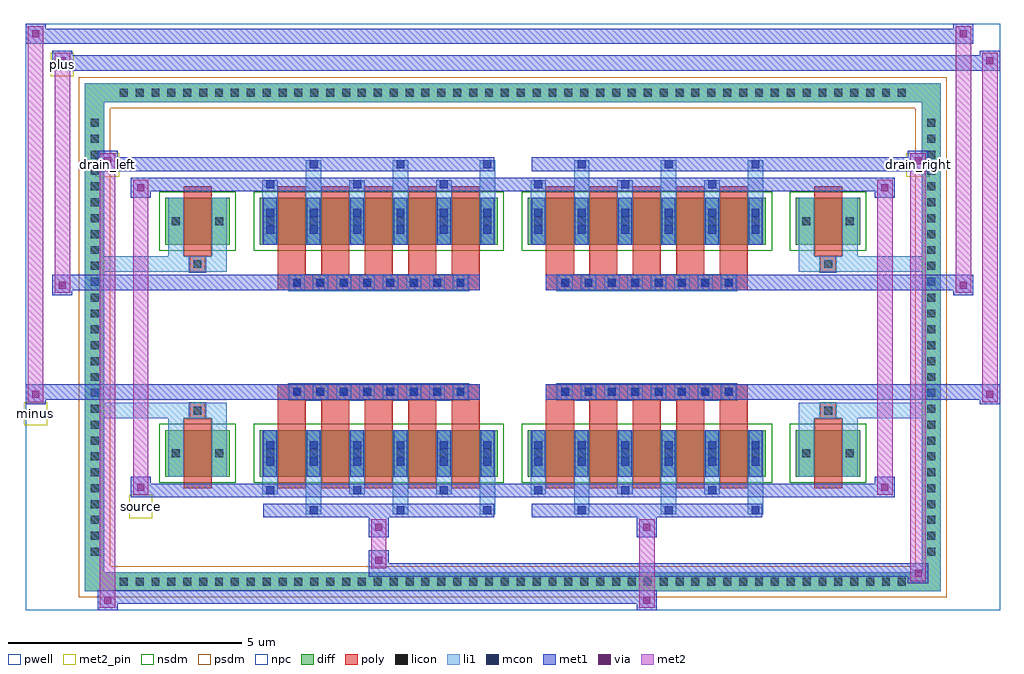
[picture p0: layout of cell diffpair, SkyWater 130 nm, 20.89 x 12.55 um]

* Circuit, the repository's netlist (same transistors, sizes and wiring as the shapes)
* NGSPICE file created from diffpair.ext - technology: sky130A

.subckt diffpair minus drain_right drain_left source plus
X0 a_n1832_n1088# a_n1832_n1088# a_n1832_n1088# a_n1832_n1088# sky130_fd_pr__nfet_01v8 ad=0.39 pd=2.78 as=3.12 ps=22.24 w=1 l=0.6
X1 source plus drain_left a_n1832_n1088# sky130_fd_pr__nfet_01v8 ad=0.165 pd=1.33 as=0.165 ps=1.33 w=1 l=0.6
X2 drain_right minus source a_n1832_n1088# sky130_fd_pr__nfet_01v8 ad=0.39 pd=2.78 as=0.165 ps=1.33 w=1 l=0.6
X3 drain_right minus source a_n1832_n1088# sky130_fd_pr__nfet_01v8 ad=0.165 pd=1.33 as=0.165 ps=1.33 w=1 l=0.6
X4 source minus drain_right a_n1832_n1088# sky130_fd_pr__nfet_01v8 ad=0.165 pd=1.33 as=0.165 ps=1.33 w=1 l=0.6
X5 drain_left plus source a_n1832_n1088# sky130_fd_pr__nfet_01v8 ad=0.165 pd=1.33 as=0.39 ps=2.78 w=1 l=0.6
X6 source minus drain_right a_n1832_n1088# sky130_fd_pr__nfet_01v8 ad=0.165 pd=1.33 as=0.165 ps=1.33 w=1 l=0.6
X7 drain_right minus source a_n1832_n1088# sky130_fd_pr__nfet_01v8 ad=0.165 pd=1.33 as=0.165 ps=1.33 w=1 l=0.6
X8 drain_left plus source a_n1832_n1088# sky130_fd_pr__nfet_01v8 ad=0.165 pd=1.33 as=0.39 ps=2.78 w=1 l=0.6
X9 source plus drain_left a_n1832_n1088# sky130_fd_pr__nfet_01v8 ad=0.165 pd=1.33 as=0.165 ps=1.33 w=1 l=0.6
X10 source minus drain_right a_n1832_n1088# sky130_fd_pr__nfet_01v8 ad=0.165 pd=1.33 as=0.165 ps=1.33 w=1 l=0.6
X11 drain_left plus source a_n1832_n1088# sky130_fd_pr__nfet_01v8 ad=0.39 pd=2.78 as=0.165 ps=1.33 w=1 l=0.6
X12 drain_left plus source a_n1832_n1088# sky130_fd_pr__nfet_01v8 ad=0.165 pd=1.33 as=0.165 ps=1.33 w=1 l=0.6
X13 drain_right minus source a_n1832_n1088# sky130_fd_pr__nfet_01v8 ad=0.165 pd=1.33 as=0.39 ps=2.78 w=1 l=0.6
X14 source plus drain_left a_n1832_n1088# sky130_fd_pr__nfet_01v8 ad=0.165 pd=1.33 as=0.165 ps=1.33 w=1 l=0.6
X15 drain_left plus source a_n1832_n1088# sky130_fd_pr__nfet_01v8 ad=0.39 pd=2.78 as=0.165 ps=1.33 w=1 l=0.6
X16 a_n1832_n1088# a_n1832_n1088# a_n1832_n1088# a_n1832_n1088# sky130_fd_pr__nfet_01v8 ad=0.39 pd=2.78 as=0 ps=0 w=1 l=0.6
X17 drain_right minus source a_n1832_n1088# sky130_fd_pr__nfet_01v8 ad=0.165 pd=1.33 as=0.39 ps=2.78 w=1 l=0.6
X18 a_n1832_n1088# a_n1832_n1088# a_n1832_n1088# a_n1832_n1088# sky130_fd_pr__nfet_01v8 ad=0.39 pd=2.78 as=0 ps=0 w=1 l=0.6
X19 source plus drain_left a_n1832_n1088# sky130_fd_pr__nfet_01v8 ad=0.165 pd=1.33 as=0.165 ps=1.33 w=1 l=0.6
X20 source minus drain_right a_n1832_n1088# sky130_fd_pr__nfet_01v8 ad=0.165 pd=1.33 as=0.165 ps=1.33 w=1 l=0.6
X21 drain_right minus source a_n1832_n1088# sky130_fd_pr__nfet_01v8 ad=0.39 pd=2.78 as=0.165 ps=1.33 w=1 l=0.6
X22 a_n1832_n1088# a_n1832_n1088# a_n1832_n1088# a_n1832_n1088# sky130_fd_pr__nfet_01v8 ad=0.39 pd=2.78 as=0 ps=0 w=1 l=0.6
X23 drain_left plus source a_n1832_n1088# sky130_fd_pr__nfet_01v8 ad=0.165 pd=1.33 as=0.165 ps=1.33 w=1 l=0.6
.ends

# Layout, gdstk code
import gdstk
lib = gdstk.Library(unit=1e-6, precision=5e-09)
def R(c, l, rs):  # rectangles x0, y0, x1, y1
    for r in rs: c.add(gdstk.rectangle(r[:2], r[2:], *l))
def A(c, l, x, y, w, h, nx, ny, dx, dy):  # array of equal rectangles
    R(c, l, [(x+i*dx, y+j*dy, x+i*dx+w, y+j*dy+h) for i in range(nx) for j in range(ny)])
def P(c, l, *ps):  # polygons
    for p in ps: c.add(gdstk.Polygon(p, *l))
pwell = (64, 44)
diff = (65, 20)
poly = (66, 20)
licon = (66, 44)
li1 = (67, 20)
mcon = (67, 44)
met1 = (68, 20)
via = (68, 44)
met2_pin = (69, 16)
met2 = (69, 20)
nsdm = (93, 44)
psdm = (94, 20)
npc = (95, 20)

diffpair = lib.new_cell('diffpair')
R(diffpair, pwell, [(-10.43,-5.84,10.43,6.71), (-7.75,-4.03,-0.01,-0.805), (0.01,-4.03,7.75,-0.805), (-7.75,0.805,-0.01,4.03), (0.01,0.805,7.75,4.03)])
A(diffpair, diff, -8.535, -5.44, 0.41, 0.41, 50, 2, 0.34, 10.47)
A(diffpair, diff, -9.16, -4.795, 0.41, 0.41, 1, 28, 0, 0.34)
A(diffpair, diff, 8.75, -4.795, 0.41, 0.41, 1, 28, 0, 0.34)
R(diffpair, diff, [(-8.535,-5.44,8.535,-5.03), (-9.16,-4.795,-8.75,4.795), (8.75,-4.795,9.16,4.795), (-7.44,-2.985,-6.06,-1.985), (-5.42,-2.985,-0.32,-1.985), (0.32,-2.985,5.42,-1.985), (6.06,-2.985,7.44,-1.985), (-7.44,1.985,-6.06,2.985), (-5.42,1.985,-0.32,2.985), (0.32,1.985,5.42,2.985), (6.06,1.985,7.44,2.985), (-8.535,5.03,8.535,5.44)])
P(diffpair, diff, [(9.16,5.44),(-9.16,5.44),(-9.16,-5.03),(-8.75,-5.03),(-8.75,5.03),(8.75,5.03),(8.75,-5.03),(-8.75,-5.03),(-9.16,-5.03),(-9.16,-5.44),(9.16,-5.44)])
A(diffpair, poly, -5.03, -3.235, 0.6, 1.5, 5, 2, 0.93, 4.97)
A(diffpair, poly, 0.71, -3.235, 0.6, 1.5, 5, 2, 0.93, 4.97)
A(diffpair, poly, -5.03, -1.735, 0.6, 0.4, 5, 2, 0.93, 3.07)
A(diffpair, poly, 0.71, -1.735, 0.6, 0.4, 5, 2, 0.93, 3.07)
A(diffpair, poly, -4.785, -1.335, 0.33, 0.33, 8, 2, 0.5, 2.34)
A(diffpair, poly, 0.955, -1.335, 0.33, 0.33, 8, 2, 0.5, 2.34)
R(diffpair, poly, [(-7.05,-3.235,-6.45,-1.735), (6.45,-3.235,7.05,-1.735), (-6.915,-1.735,-6.585,-1.405), (-6.915,-1.735,-6.585,-1.405), (6.585,-1.735,6.915,-1.405), (6.585,-1.735,6.915,-1.405), (-5.03,-1.335,-0.71,-1.005), (0.71,-1.335,5.03,-1.005), (-5.03,1.005,-0.71,1.335), (0.71,1.005,5.03,1.335), (-6.915,1.405,-6.585,1.735), (-6.915,1.405,-6.585,1.735), (6.585,1.405,6.915,1.735), (6.585,1.405,6.915,1.735), (-7.05,1.735,-6.45,3.235), (6.45,1.735,7.05,3.235)])
A(diffpair, licon, -8.415, -5.32, 0.17, 0.17, 50, 2, 0.34, 10.47)
A(diffpair, licon, -9.04, -4.675, 0.17, 0.17, 1, 28, 0, 0.34)
A(diffpair, licon, 8.87, -4.675, 0.17, 0.17, 1, 28, 0, 0.34)
A(diffpair, licon, -5.28, -2.57, 0.17, 0.17, 6, 2, 0.93, 4.97)
A(diffpair, licon, 0.46, -2.57, 0.17, 0.17, 6, 2, 0.93, 4.97)
A(diffpair, licon, -4.705, -1.255, 0.17, 0.17, 8, 2, 0.5, 2.34)
A(diffpair, licon, 1.035, -1.255, 0.17, 0.17, 8, 2, 0.5, 2.34)
R(diffpair, licon, [(-7.3,-2.57,-7.13,-2.4), (-6.37,-2.57,-6.2,-2.4), (6.2,-2.57,6.37,-2.4), (7.13,-2.57,7.3,-2.4), (-6.835,-1.655,-6.665,-1.485), (6.665,-1.655,6.835,-1.485), (-6.835,1.485,-6.665,1.655), (6.665,1.485,6.835,1.655), (-7.3,2.4,-7.13,2.57), (-6.37,2.4,-6.2,2.57), (6.2,2.4,6.37,2.57), (7.13,2.4,7.3,2.57)])
A(diffpair, li1, -8.495, -5.4, 0.33, 0.33, 50, 2, 0.34, 10.47)
A(diffpair, li1, -9.12, -4.755, 0.33, 0.33, 1, 28, 0, 0.34)
A(diffpair, li1, 8.79, -4.755, 0.33, 0.33, 1, 28, 0, 0.34)
A(diffpair, li1, -4.43, -3.79, 0.33, 0.805, 3, 2, 1.86, 6.775)
A(diffpair, li1, -4.35, -3.79, 0.17, 0.17, 3, 2, 1.86, 7.41)
A(diffpair, li1, 1.31, -3.79, 0.33, 0.805, 3, 2, 1.86, 6.775)
A(diffpair, li1, 1.39, -3.79, 0.17, 0.17, 3, 2, 1.86, 7.41)
A(diffpair, li1, -5.36, -3.36, 0.33, 0.375, 3, 2, 1.86, 6.345)
A(diffpair, li1, -5.28, -3.36, 0.17, 0.17, 3, 2, 1.86, 6.55)
A(diffpair, li1, 0.38, -3.36, 0.33, 0.375, 3, 2, 1.86, 6.345)
A(diffpair, li1, 0.46, -3.36, 0.17, 0.17, 3, 2, 1.86, 6.55)
A(diffpair, li1, -5.36, -2.985, 0.33, 1, 6, 2, 0.93, 4.97)
A(diffpair, li1, 0.38, -2.985, 0.33, 1, 6, 2, 0.93, 4.97)
A(diffpair, li1, -5.28, -2.75, 0.17, 0.17, 6, 2, 0.93, 0.36)
A(diffpair, li1, -5.28, -2.75, 0.17, 0.53, 6, 2, 0.93, 4.97)
A(diffpair, li1, 0.46, -2.75, 0.17, 0.17, 6, 2, 0.93, 0.36)
A(diffpair, li1, 0.46, -2.75, 0.17, 0.53, 6, 2, 0.93, 4.97)
A(diffpair, li1, -5.36, -2.65, 0.33, 0.33, 6, 2, 0.93, 4.97)
A(diffpair, li1, 0.38, -2.65, 0.33, 0.33, 6, 2, 0.93, 4.97)
A(diffpair, li1, -4.785, -1.335, 0.33, 0.33, 8, 2, 0.5, 2.34)
A(diffpair, li1, 0.955, -1.335, 0.33, 0.33, 8, 2, 0.5, 2.34)
A(diffpair, li1, -5.28, 2.22, 0.17, 0.17, 6, 2, 0.93, 0.36)
A(diffpair, li1, 0.46, 2.22, 0.17, 0.17, 6, 2, 0.93, 0.36)
R(diffpair, li1, [(-9.16,-5.44,-8.75,-5.03), (-9.16,-5.44,-8.75,-5.03), (-8.75,-5.44,8.75,-5.03), (8.75,-5.44,9.16,-5.03), (8.75,-5.44,9.16,-5.03), (-9.16,-5.03,-8.75,5.03), (8.75,-5.03,9.16,5.03), (-7.38,-2.985,-7.05,-1.985), (-6.45,-2.985,-6.12,-1.985), (6.12,-2.985,6.45,-1.985), (7.05,-2.985,7.38,-1.985), (-7.38,-2.65,-7.05,-2.32), (-6.45,-2.65,-6.12,-2.32), (6.12,-2.65,6.45,-2.32), (7.05,-2.65,7.38,-2.32), (-7.38,-1.985,-7.05,-1.405), (-6.45,-1.985,-6.12,-1.405), (6.12,-1.985,6.45,-1.405), (7.05,-1.985,7.38,-1.405), (-9.16,-1.735,-6.915,-1.405), (-7.38,-1.735,-6.915,-1.405), (-6.915,-1.735,-6.585,-1.405), (-6.585,-1.735,-6.12,-1.405), (6.12,-1.735,6.585,-1.405), (6.585,-1.735,6.915,-1.405), (6.585,-1.735,9.16,-1.405), (6.915,-1.735,7.38,-1.405), (-9.16,1.405,-6.915,1.735), (-7.38,1.405,-6.915,1.735), (-7.38,1.405,-7.05,1.985), (-6.915,1.405,-6.585,1.735), (-6.585,1.405,-6.12,1.735), (-6.45,1.405,-6.12,1.985), (6.12,1.405,6.585,1.735), (6.12,1.405,6.45,1.985), (6.585,1.405,6.915,1.735), (6.585,1.405,9.16,1.735), (6.915,1.405,7.38,1.735), (7.05,1.405,7.38,1.985), (-7.38,1.985,-7.05,2.985), (-6.45,1.985,-6.12,2.985), (6.12,1.985,6.45,2.985), (7.05,1.985,7.38,2.985), (-7.38,2.32,-7.05,2.65), (-6.45,2.32,-6.12,2.65), (6.12,2.32,6.45,2.65), (7.05,2.32,7.38,2.65), (-9.16,5.03,-8.75,5.44), (-9.16,5.03,-8.75,5.44), (-8.75,5.03,8.75,5.44), (8.75,5.03,9.16,5.44), (8.75,5.03,9.16,5.44)])
A(diffpair, mcon, -4.35, -3.79, 0.17, 0.17, 3, 2, 1.86, 7.41)
A(diffpair, mcon, 1.39, -3.79, 0.17, 0.17, 3, 2, 1.86, 7.41)
A(diffpair, mcon, -5.28, -3.36, 0.17, 0.17, 3, 2, 1.86, 6.55)
A(diffpair, mcon, 0.46, -3.36, 0.17, 0.17, 3, 2, 1.86, 6.55)
A(diffpair, mcon, -5.28, -2.75, 0.17, 0.17, 6, 2, 0.93, 0.36)
A(diffpair, mcon, 0.46, -2.75, 0.17, 0.17, 6, 2, 0.93, 0.36)
A(diffpair, mcon, -4.705, -1.255, 0.17, 0.17, 8, 2, 0.5, 2.34)
A(diffpair, mcon, 1.035, -1.255, 0.17, 0.17, 8, 2, 0.5, 2.34)
A(diffpair, mcon, -5.28, 2.22, 0.17, 0.17, 6, 2, 0.93, 0.36)
A(diffpair, mcon, 0.46, 2.22, 0.17, 0.17, 6, 2, 0.93, 0.36)
A(diffpair, met1, -4.41, -3.85, 0.29, 0.29, 3, 2, 1.86, 7.41)
A(diffpair, met1, 1.33, -3.85, 0.29, 0.29, 3, 2, 1.86, 7.41)
A(diffpair, met1, -5.34, -3.42, 0.29, 0.29, 3, 2, 1.86, 6.55)
A(diffpair, met1, 0.4, -3.42, 0.29, 0.29, 3, 2, 1.86, 6.55)
A(diffpair, met1, -5.34, -2.985, 0.29, 1, 6, 2, 0.93, 4.97)
A(diffpair, met1, 0.4, -2.985, 0.29, 1, 6, 2, 0.93, 4.97)
A(diffpair, met1, -5.34, -2.81, 0.29, 0.29, 6, 2, 0.93, 0.36)
A(diffpair, met1, 0.4, -2.81, 0.29, 0.29, 6, 2, 0.93, 0.36)
A(diffpair, met1, -4.765, -1.315, 0.29, 0.29, 8, 2, 0.5, 2.34)
A(diffpair, met1, 0.975, -1.315, 0.29, 0.29, 8, 2, 0.5, 2.34)
A(diffpair, met1, -5.34, 2.16, 0.29, 0.29, 6, 2, 0.93, 0.36)
A(diffpair, met1, 0.4, 2.16, 0.29, 0.29, 6, 2, 0.93, 0.36)
R(diffpair, met1, [(-8.89,-5.84,-8.46,-5.41), (2.655,-5.84,3.085,-5.41), (-8.89,-5.7,3.085,-5.41), (8.46,-5.27,8.89,-4.84), (-3.085,-5.13,8.89,-4.84), (-3.085,-4.99,-2.655,-4.56), (-3.085,-4.28,-2.655,-3.85), (2.655,-4.28,3.085,-3.85), (-5.34,-3.85,-0.4,-3.56), (0.4,-3.85,5.34,-3.56), (-8.18,-3.42,-7.75,-2.99), (-8.18,-3.42,-5.34,-3.13), (-5.34,-3.42,-0.4,-3.13), (-0.4,-3.42,0.4,-3.13), (0.4,-3.42,5.34,-3.13), (5.34,-3.42,8.18,-3.13), (7.75,-3.42,8.18,-2.99), (-10.43,-1.435,-10,-1.005), (10,-1.435,10.43,-1.005), (-10.43,-1.335,-0.71,-1.005), (-5.03,-1.335,-0.71,-1.005), (0.71,-1.335,5.03,-1.005), (0.71,-1.335,10.43,-1.005), (-9.86,0.905,-9.43,1.335), (9.43,0.905,9.86,1.335), (-9.86,1.005,-5.03,1.335), (-5.03,1.005,-0.71,1.335), (0.71,1.005,5.03,1.335), (5.03,1.005,9.86,1.335), (-8.18,2.99,-7.75,3.42), (7.75,2.99,8.18,3.42), (-8.18,3.13,-5.34,3.42), (-5.34,3.13,-0.4,3.42), (-0.4,3.13,0.4,3.42), (0.4,3.13,5.34,3.42), (5.34,3.13,8.18,3.42), (-8.89,3.56,-8.46,3.99), (-8.89,3.56,-5.34,3.85), (-5.34,3.56,-0.4,3.85), (0.4,3.56,5.34,3.85), (5.34,3.56,8.89,3.85), (8.46,3.56,8.89,3.99), (-9.86,5.71,-9.43,6.14), (-9.86,5.71,-7.75,6.04), (-7.75,5.71,7.75,6.04), (7.75,5.71,10.43,6.04), (10,5.71,10.43,6.14), (-10.43,6.28,-10,6.71), (-10.43,6.28,-7.75,6.61), (-7.75,6.28,7.75,6.61), (7.75,6.28,9.86,6.61), (9.43,6.28,9.86,6.71)])
R(diffpair, via, [(-8.75,-5.7,-8.6,-5.55), (2.795,-5.7,2.945,-5.55), (8.6,-5.13,8.75,-4.98), (-2.945,-4.85,-2.795,-4.7), (-2.945,-4.14,-2.795,-3.99), (2.795,-4.14,2.945,-3.99), (-8.04,-3.28,-7.89,-3.13), (7.89,-3.28,8.04,-3.13), (-10.29,-1.295,-10.14,-1.145), (10.14,-1.295,10.29,-1.145), (-9.72,1.045,-9.57,1.195), (9.57,1.045,9.72,1.195), (-8.04,3.13,-7.89,3.28), (7.89,3.13,8.04,3.28), (-8.75,3.7,-8.6,3.85), (8.6,3.7,8.75,3.85), (-9.72,5.85,-9.57,6), (10.14,5.85,10.29,6), (-10.29,6.42,-10.14,6.57), (9.57,6.42,9.72,6.57)])
R(diffpair, met2_pin, [(-8.215,-3.87,-7.715,-3.37), (-10.465,-1.885,-9.965,-1.385), (-8.925,3.44,-8.425,3.94), (8.425,3.44,8.925,3.94), (-9.895,5.59,-9.395,6.09)])
R(diffpair, met2, [(-8.84,-5.79,-8.51,-5.46), (-8.84,-5.79,-8.51,3.94), (2.705,-5.79,3.035,-5.46), (2.705,-5.46,3.035,-4.23), (8.51,-5.22,8.84,-4.89), (8.51,-5.22,8.84,3.94), (-3.035,-4.94,-2.705,-4.61), (-3.035,-4.61,-2.705,-4.23), (-3.035,-4.23,-2.705,-3.9), (2.705,-4.23,3.035,-3.9), (-8.13,-3.37,-7.8,-3.04), (-8.13,-3.37,-7.8,3.37), (7.8,-3.37,8.13,-3.04), (7.8,-3.37,8.13,3.37), (-10.38,-1.385,-10.05,-1.055), (-10.38,-1.385,-10.05,6.66), (10.05,-1.385,10.38,-1.055), (10.05,-1.385,10.38,6.09), (-9.81,0.955,-9.48,1.285), (-9.81,0.955,-9.48,6.09), (9.48,0.955,9.81,1.285), (9.48,0.955,9.81,6.66), (-8.13,3.04,-7.8,3.37), (7.8,3.04,8.13,3.37), (-8.84,3.61,-8.51,3.94), (8.51,3.61,8.84,3.94), (-9.81,5.76,-9.48,6.09), (10.05,5.76,10.38,6.09), (-10.38,6.33,-10.05,6.66), (9.48,6.33,9.81,6.66)])
P(diffpair, met2, [(10.38,-1.385),(10.38,-1.385),(10.38,-1.055),(10.38,-1.055)],
  [(10.38,5.76),(10.38,5.76),(10.38,6.09),(10.38,6.09)],
  [(-10.05,-1.385),(-10.05,-1.385),(-10.05,-1.055),(-10.05,-1.055)],
  [(-10.05,6.33),(-10.05,6.33),(-10.05,6.66),(-10.05,6.66)],
  [(9.81,0.955),(9.81,0.955),(9.81,1.285),(9.81,1.285)],
  [(9.81,6.33),(9.81,6.33),(9.81,6.66),(9.81,6.66)],
  [(-9.48,0.955),(-9.48,0.955),(-9.48,1.285),(-9.48,1.285)],
  [(-9.48,5.76),(-9.48,5.76),(-9.48,6.09),(-9.48,6.09)],
  [(-8.51,-5.79),(-8.51,-5.79),(-8.51,-5.46),(-8.51,-5.46)],
  [(-8.51,3.61),(-8.51,3.61),(-8.51,3.94),(-8.51,3.94)],
  [(8.84,-5.22),(8.84,-5.22),(8.84,-4.89),(8.84,-4.89)],
  [(8.84,3.61),(8.84,3.61),(8.84,3.94),(8.84,3.94)],
  [(-7.8,-3.37),(-7.8,-3.37),(-7.8,-3.04),(-7.8,-3.04)],
  [(-7.8,3.04),(-7.8,3.04),(-7.8,3.37),(-7.8,3.37)],
  [(8.13,-3.37),(8.13,-3.37),(8.13,-3.04),(8.13,-3.04)],
  [(8.13,3.04),(8.13,3.04),(8.13,3.37),(8.13,3.37)])
R(diffpair, nsdm, [(-7.57,-3.115,-5.93,-1.855), (-5.55,-3.115,-0.19,-1.855), (0.19,-3.115,5.55,-1.855), (5.93,-3.115,7.57,-1.855), (-7.57,1.855,-5.93,3.115), (-5.55,1.855,-0.19,3.115), (0.19,1.855,5.55,3.115), (5.93,1.855,7.57,3.115)])
P(diffpair, psdm, [(9.29,5.57),(-9.29,5.57),(-9.29,-4.9),(-8.62,-4.9),(-8.62,4.9),(8.62,4.9),(8.62,-4.9),(-8.62,-4.9),(-9.29,-4.9),(-9.29,-5.57),(9.29,-5.57)])
A(diffpair, npc, -4.805, -1.355, 0.37, 0.37, 8, 2, 0.5, 2.34)
A(diffpair, npc, 0.935, -1.355, 0.37, 0.37, 8, 2, 0.5, 2.34)
R(diffpair, npc, [(-6.935,-1.755,-6.565,-1.385), (6.565,-1.755,6.935,-1.385), (-4.805,-1.355,-3.935,-0.985), (-4.805,-1.355,-3.935,-0.985), (-4.305,-1.355,-3.435,-0.985), (-4.305,-1.355,-3.435,-0.985), (-3.805,-1.355,-2.935,-0.985), (-3.805,-1.355,-2.935,-0.985), (-3.305,-1.355,-2.435,-0.985), (-3.305,-1.355,-2.435,-0.985), (-2.805,-1.355,-1.935,-0.985), (-2.805,-1.355,-1.935,-0.985), (-2.305,-1.355,-1.435,-0.985), (-2.305,-1.355,-1.435,-0.985), (-1.805,-1.355,-0.935,-0.985), (-1.805,-1.355,-0.935,-0.985), (0.935,-1.355,1.805,-0.985), (0.935,-1.355,1.805,-0.985), (1.435,-1.355,2.305,-0.985), (1.435,-1.355,2.305,-0.985), (1.935,-1.355,2.805,-0.985), (1.935,-1.355,2.805,-0.985), (2.435,-1.355,3.305,-0.985), (2.435,-1.355,3.305,-0.985), (2.935,-1.355,3.805,-0.985), (2.935,-1.355,3.805,-0.985), (3.435,-1.355,4.305,-0.985), (3.435,-1.355,4.305,-0.985), (3.935,-1.355,4.805,-0.985), (3.935,-1.355,4.805,-0.985), (-4.805,0.985,-3.935,1.355), (-4.805,0.985,-3.935,1.355), (-4.305,0.985,-3.435,1.355), (-4.305,0.985,-3.435,1.355), (-3.805,0.985,-2.935,1.355), (-3.805,0.985,-2.935,1.355), (-3.305,0.985,-2.435,1.355), (-3.305,0.985,-2.435,1.355), (-2.805,0.985,-1.935,1.355), (-2.805,0.985,-1.935,1.355), (-2.305,0.985,-1.435,1.355), (-2.305,0.985,-1.435,1.355), (-1.805,0.985,-0.935,1.355), (-1.805,0.985,-0.935,1.355), (0.935,0.985,1.805,1.355), (0.935,0.985,1.805,1.355), (1.435,0.985,2.305,1.355), (1.435,0.985,2.305,1.355), (1.935,0.985,2.805,1.355), (1.935,0.985,2.805,1.355), (2.435,0.985,3.305,1.355), (2.435,0.985,3.305,1.355), (2.935,0.985,3.805,1.355), (2.935,0.985,3.805,1.355), (3.435,0.985,4.305,1.355), (3.435,0.985,4.305,1.355), (3.935,0.985,4.805,1.355), (3.935,0.985,4.805,1.355), (-6.935,1.385,-6.565,1.755), (6.565,1.385,6.935,1.755)])
diffpair.add(gdstk.Label('minus', (-10.215,-1.635), layer=69, texttype=5))
diffpair.add(gdstk.Label('drain_right', (8.675,3.69), layer=69, texttype=5))
diffpair.add(gdstk.Label('drain_left', (-8.675,3.69), layer=69, texttype=5))
diffpair.add(gdstk.Label('source', (-7.965,-3.62), layer=69, texttype=5))
diffpair.add(gdstk.Label('plus', (-9.645,5.84), layer=69, texttype=5))

lib.write_gds('diffpair.gds')
